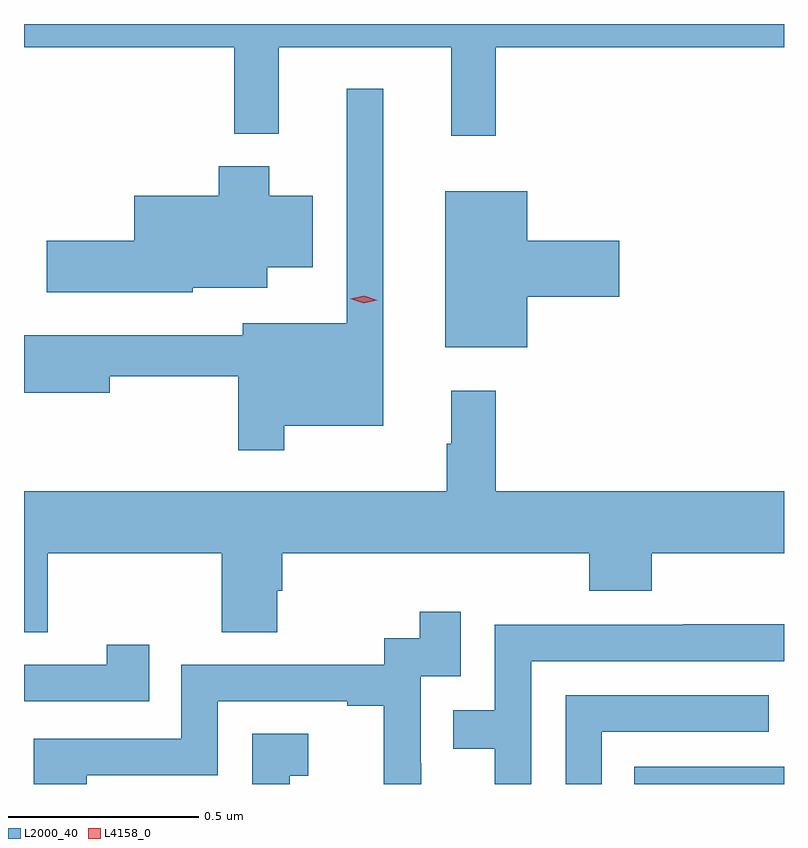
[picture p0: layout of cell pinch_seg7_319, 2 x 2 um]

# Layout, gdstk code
import gdstk
lib = gdstk.Library(unit=1e-6, precision=1e-09)
def R(c, l, rs):  # rectangles x0, y0, x1, y1
    for r in rs: c.add(gdstk.rectangle(r[:2], r[2:], *l))
def P(c, l, *ps):  # polygons
    for p in ps: c.add(gdstk.Polygon(p, *l))
L2000_40 = (2000, 40)
L4158_0 = (4158, 0)

pinch_seg7_319 = lib.new_cell('pinch_seg7_319')
R(pinch_seg7_319, L2000_40, [(552.496,1054.621,552.89,1054.666)])
P(pinch_seg7_319, L2000_40, [(552.131,1056.56),(552.89,1056.56),(552.89,1056.621),(550.89,1056.621),(550.89,1056.56),(551.443,1056.56),(551.443,1056.332),(551.561,1056.332),(551.561,1056.56),(552.014,1056.56),(552.014,1056.327),(552.131,1056.327)],
  [(551.575,1055.564),(551.836,1055.564),(551.836,1056.451),(551.739,1056.451),(551.739,1055.833),(551.465,1055.833),(551.465,1055.802),(550.89,1055.802),(550.89,1055.651),(551.116,1055.651),(551.116,1055.694),(551.454,1055.694),(551.454,1055.499),(551.575,1055.499)],
  [(551.334,1055.927),(551.53,1055.927),(551.53,1055.981),(551.65,1055.981),(551.65,1056.169),(551.536,1056.169),(551.536,1056.247),(551.402,1056.247),(551.402,1056.169),(551.18,1056.169),(551.18,1056.05),(550.95,1056.05),(550.95,1055.915),(551.334,1055.915)],
  [(552.214,1055.903),(552.457,1055.903),(552.457,1056.05),(552.214,1056.05),(552.214,1056.181),(551.999,1056.181),(551.999,1055.771),(552.214,1055.771)],
  [(550.953,1055.228),(551.41,1055.228),(551.41,1055.02),(551.557,1055.02),(551.557,1055.13),(551.57,1055.13),(551.57,1055.228),(552.377,1055.228),(552.377,1055.129),(552.542,1055.129),(552.542,1055.228),(552.89,1055.228),(552.89,1055.392),(552.131,1055.392),(552.131,1055.656),(552.014,1055.656),(552.014,1055.516),(552.003,1055.516),(552.003,1055.392),(550.89,1055.392),(550.89,1055.02),(550.953,1055.02)],
  [(551.055,1054.644),(551.4,1054.644),(551.4,1054.839),(551.741,1054.839),(551.741,1054.827),(551.837,1054.827),(551.837,1054.621),(551.936,1054.621),(551.936,1054.676),(551.934,1054.676),(551.934,1054.905),(552.039,1054.905),(552.039,1055.074),(551.931,1055.074),(551.931,1055.004),(551.838,1055.004),(551.838,1054.935),(551.304,1054.935),(551.304,1054.74),(550.915,1054.74),(550.915,1054.621),(551.055,1054.621)],
  [(552.225,1054.944),(552.89,1054.944),(552.89,1055.042),(552.625,1055.042),(552.625,1055.04),(552.129,1055.04),(552.129,1054.815),(552.019,1054.815),(552.019,1054.714),(552.129,1054.714),(552.129,1054.621),(552.225,1054.621)],
  [(551.219,1054.987),(551.108,1054.987),(551.108,1054.935),(550.89,1054.935),(550.89,1054.839),(551.219,1054.839)],
  [(552.411,1054.758),(552.85,1054.758),(552.85,1054.854),(552.315,1054.854),(552.315,1054.621),(552.411,1054.621)],
  [(551.589,1054.643),(551.638,1054.643),(551.638,1054.753),(551.49,1054.753),(551.49,1054.621),(551.589,1054.621)])
P(pinch_seg7_319, L4158_0, [(551.784,1055.886),(551.749,1055.898),(551.749,1055.898),(551.749,1055.898),(551.785,1055.906),(551.82,1055.894),(551.82,1055.894),(551.82,1055.894)])

lib.write_gds('pinch_seg7_319.gds')
